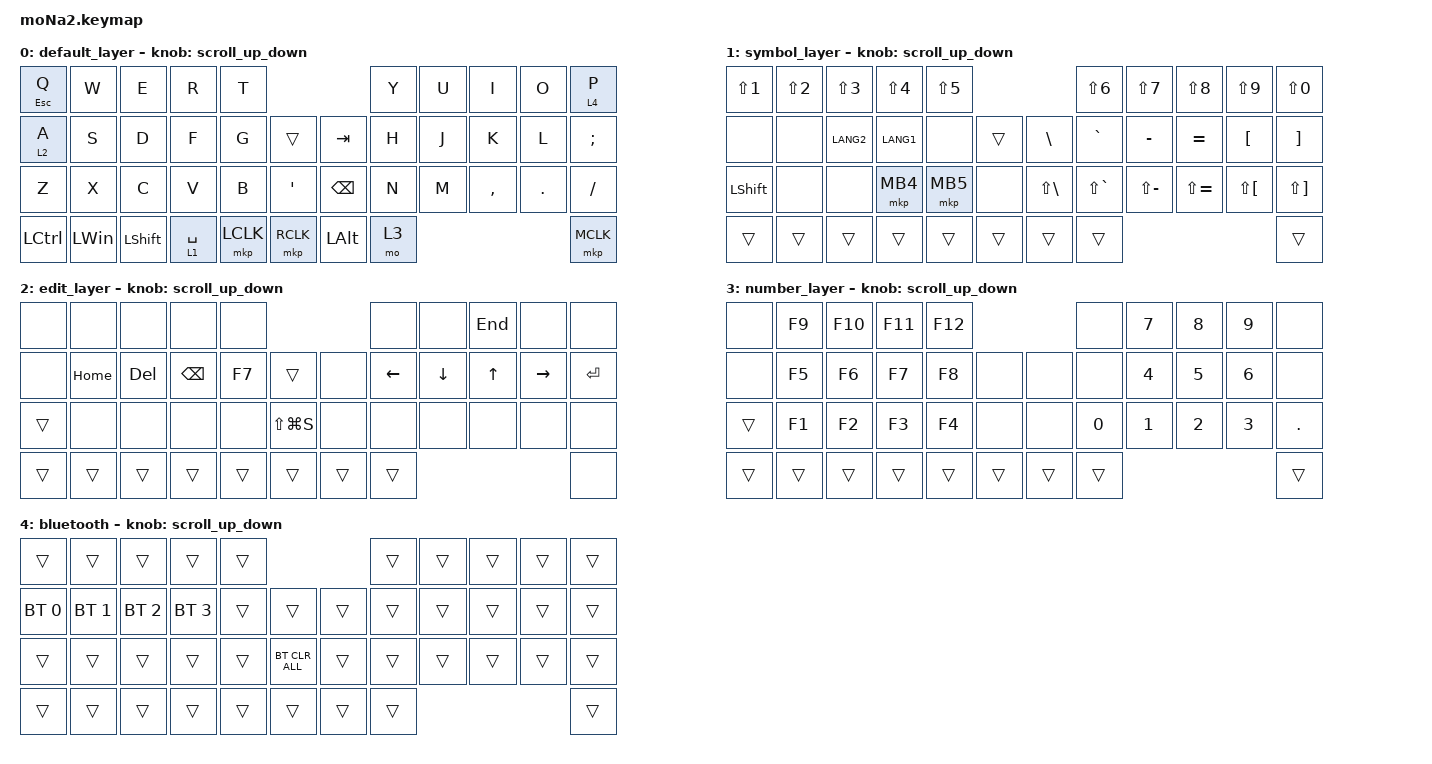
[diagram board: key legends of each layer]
#include <behaviors.dtsi>
#include <dt-bindings/zmk/bt.h>
#include <dt-bindings/zmk/keys.h>
#include <dt-bindings/zmk/pointing.h>

#define ZMK_POINTING_DEFAULT_SCRL_VAL 80

/* #define MOUSE 6 */

&mt {
    flavor = "balanced";
    quick-tap-ms = <0>;
};

/ {
    combos {
        compatible = "zmk,combos";

        leftclick {
            bindings = <&mkp MB1>;
            key-positions = <18 19>;
        };

        rightclick {
            bindings = <&mkp MB2>;
            key-positions = <19 20>;
        };

        alt+space {
            bindings = <&kp LA(SPACE)>;
            key-positions = <13 18>;
        };

        shift {
            bindings = <&kp LEFT_SHIFT>;
            key-positions = <37 37 40>;
        };

        middle {
            bindings = <&mkp MCLK>;
            key-positions = <30 31>;
        };
    };

    macros {
        to_layer_0: to_layer_0 {
            compatible = "zmk,behavior-macro-one-param";
            #binding-cells = <1>;
            bindings = <&to 0 &macro_param_1to1 &kp MACRO_PLACEHOLDER>;
            label = "TO_LAYER_0";
        };
    };

    behaviors {
        lt_to_layer_0: lt_to_layer_0 {
            compatible = "zmk,behavior-hold-tap";
            label = "LAYER_TAP_TO_0";
            bindings = <&mo>, <&to_layer_0>;

            #binding-cells = <2>;
            tapping-term-ms = <200>;
        };

        scroll_up_down: behavior_sensor_rotate_mouse_wheel_up_down {
            compatible = "zmk,behavior-sensor-rotate";
            #sensor-binding-cells = <0>;
            bindings = <&msc SCRL_UP>, <&msc SCRL_DOWN>;

            tap-ms = <20>;
        };
    };

    keymap {
        compatible = "zmk,keymap";

        default_layer {
            bindings = <
&mt ESCAPE Q  &kp W         &kp E           &kp R        &kp T                                         &kp Y  &kp U  &kp I      &kp O    &lt 4 P
&lt 2 A       &kp S         &kp D           &kp F        &kp G      &trans              &kp TAB        &kp H  &kp J  &kp K      &kp L    &kp SEMICOLON
&kp Z         &kp X         &kp C           &kp V        &kp B      &kp SINGLE_QUOTE    &kp BACKSPACE  &kp N  &kp M  &kp COMMA  &kp DOT  &kp SLASH
&kp LCTRL     &kp LEFT_WIN  &kp LEFT_SHIFT  &lt 1 SPACE  &mkp LCLK  &mkp RCLK           &kp LEFT_ALT   &mo 3                             &mkp MCLK
            >;

            sensor-bindings = <&scroll_up_down>;
        };

        symbol_layer {
            bindings = <
&kp LS(N1)      &kp LS(N2)  &kp LS(N3)  &kp LS(N4)  &kp LS(N5)                          &kp LS(N6)     &kp LS(N7)     &kp LS(N8)     &kp LS(N9)    &kp LS(N0)
&none           &none       &kp LANG2   &kp LANG1   &none       &trans    &kp BSLH      &kp GRAVE      &kp MINUS      &kp EQUAL      &kp LBKT      &kp RBKT
&kp LEFT_SHIFT  &none       &none       &mkp MB4    &mkp MB5    &none     &kp LS(BSLH)  &kp LS(GRAVE)  &kp LS(MINUS)  &kp LS(EQUAL)  &kp LS(LBKT)  &kp LS(RBKT)
&trans          &trans      &trans      &trans      &trans      &trans    &trans        &trans                                                     &trans
            >;

            sensor-bindings = <&scroll_up_down>;
        };

        edit_layer {
            bindings = <
&none   &none     &none       &none          &none                            &none     &none     &kp END  &none      &none
&none   &kp HOME  &kp DELETE  &kp BACKSPACE  &kp F7  &trans           &none   &kp LEFT  &kp DOWN  &kp UP   &kp RIGHT  &kp ENTER
&trans  &none     &none       &none          &none   &kp LS(LG(S))    &none   &none     &none     &none    &none      &none
&trans  &trans    &trans      &trans         &trans  &trans           &trans  &trans                                  &none
            >;

            sensor-bindings = <&scroll_up_down>;
        };

        number_layer {
            bindings = <
&none   &kp F9  &kp F10  &kp F11  &kp F12                    &none         &kp N7        &kp N8        &kp N9        &none
&none   &kp F5  &kp F6   &kp F7   &kp F8   &none     &none   &none         &kp NUMBER_4  &kp N5        &kp NUMBER_6  &none
&trans  &kp F1  &kp F2   &kp F3   &kp F4   &none     &none   &kp NUMBER_0  &kp NUMBER_1  &kp NUMBER_2  &kp NUMBER_3  &kp DOT
&trans  &trans  &trans   &trans   &trans   &trans    &trans  &trans                                                  &trans
            >;

            sensor-bindings = <&scroll_up_down>;
        };

        bluetooth {
            bindings = <
&trans        &trans        &trans        &trans        &trans                            &trans  &trans  &trans  &trans  &trans
&bt BT_SEL 0  &bt BT_SEL 1  &bt BT_SEL 2  &bt BT_SEL 3  &trans  &trans            &trans  &trans  &trans  &trans  &trans  &trans
&trans        &trans        &trans        &trans        &trans  &bt BT_CLR_ALL    &trans  &trans  &trans  &trans  &trans  &trans
&trans        &trans        &trans        &trans        &trans  &trans            &trans  &trans                          &trans
            >;

            sensor-bindings = <&scroll_up_down>;
        };
    };
};
